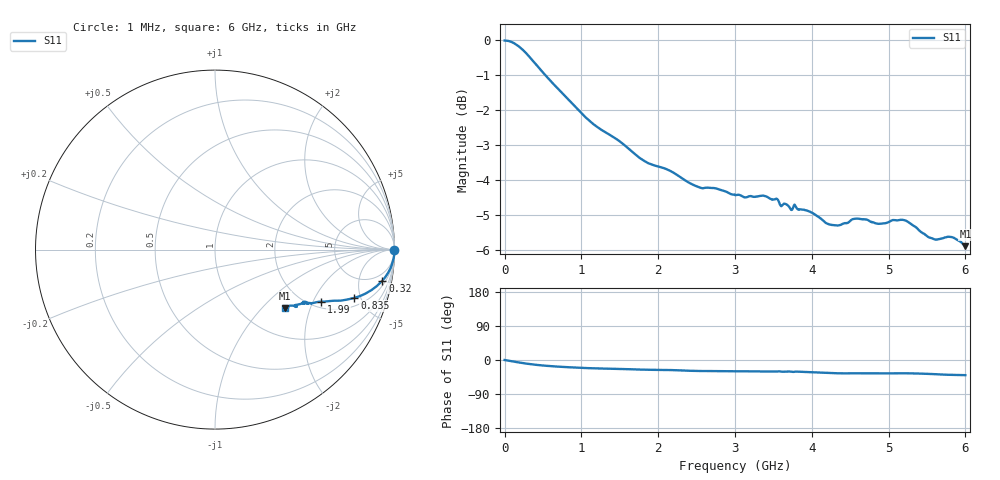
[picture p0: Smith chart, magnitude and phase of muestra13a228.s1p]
! COPPER MOUNTAIN TECHNOLOGIES, R60, 23103002, 24.3.3/3.0
! Date: 23/10/2026 12:32:55
! Data: Format [Calibration Info]
! Frequency		S11: Re/Im RO
# HZ S RI R 50
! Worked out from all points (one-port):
!   1280 points, 1 MHz to 6 GHz, reference 50 ohm
!   lowest |S11| = -5.9 dB at 6 GHz (marker M1), VSWR 3.06, Z = 77.3 - j67.8 ohm
!   |S11| at or under -10 dB: nowhere
!   S11 on the Smith chart (normalised r, x): 1 MHz: open; 320 MHz: 3, -10; 835 MHz: 2.66, -4.40; 1.99 GHz: 2.26, -2.32; 6 GHz: 1.55, -1.36
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1000000  0.9999 -0.000383
1e8  0.9921 -0.0624
1.45e8  0.9838 -0.0887
3.2e8  0.9329 -0.1728
5.1e8  0.8675 -0.2283
7.55e8  0.7973 -0.2624
8.35e8  0.7764 -0.2689
1.14e9  0.7064 -0.2833
1.505e9  0.6564 -0.2853
1.785e9  0.6103 -0.2895
1.99e9  0.5927 -0.29
2.255e9  0.5697 -0.2922
2.535e9  0.5381 -0.2992
2.765e9  0.535 -0.2991
3.005e9  0.5199 -0.299
3.395e9  0.5176 -0.2997
3.705e9  0.4981 -0.2917
3.755e9  0.4905 -0.3003
3.96e9  0.4831 -0.3006
4.25e9  0.4475 -0.3093
4.365e9  0.444 -0.3132
4.505e9  0.4511 -0.3174
4.87e9  0.448 -0.3115
5.065e9  0.4508 -0.3198
5.255e9  0.449 -0.3158
5.615e9  0.4104 -0.316
5.785e9  0.4062 -0.3293
6e9  0.3882 -0.3259
